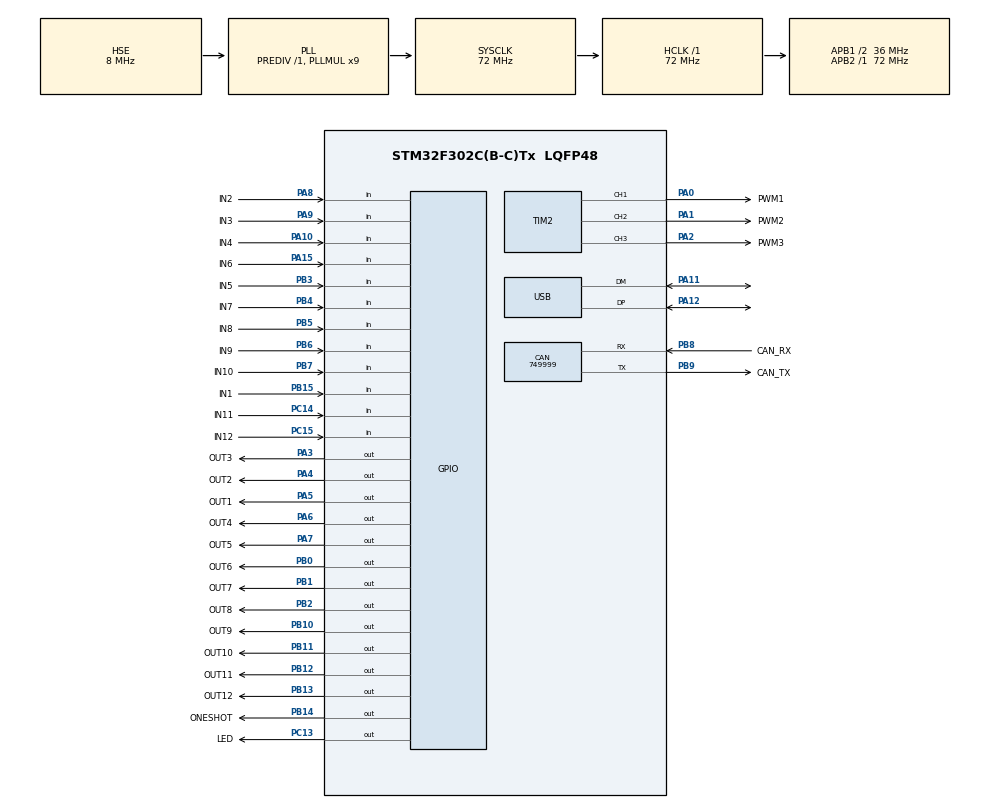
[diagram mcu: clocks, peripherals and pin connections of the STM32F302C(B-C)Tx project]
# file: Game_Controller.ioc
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CAN.CalculateBaudRate=749999
CAN.CalculateTimeBit=1333
CAN.CalculateTimeQuantum=444.44444444444446
Mcu.Family=STM32F3
Mcu.Name=STM32F302C(B-C)Tx
Mcu.Package=LQFP48
NVIC.PriorityGroup=NVIC_PRIORITYGROUP_4
NVIC.TIM4_IRQn=true\:0\:0\:false\:false\:true\:true\:true\:true
NVIC.USB_LP_IRQn=true\:0\:0\:false\:false\:true\:false\:true\:true
PA0.GPIO_Label=PWM1
PA0.Signal=S_TIM2_CH1_ETR
PA1.GPIO_Label=PWM2
PA1.Signal=S_TIM2_CH2
PA10.GPIO_Label=IN4
PA10.GPIO_PuPd=GPIO_PULLUP
PA10.Signal=GPIO_Input
PA11.Mode=Device
PA11.Signal=USB_DM
PA12.Mode=Device
PA12.Signal=USB_DP
PA13.Mode=Serial_Wire
PA13.Signal=SYS_JTMS-SWDIO
PA14.Mode=Serial_Wire
PA14.Signal=SYS_JTCK-SWCLK
PA15.GPIO_Label=IN6
PA15.GPIO_PuPd=GPIO_PULLUP
PA15.Signal=GPIO_Input
PA2.GPIO_Label=PWM3
PA2.Signal=S_TIM2_CH3
PA3.GPIO_Label=OUT3
PA3.GPIO_PuPd=GPIO_PULLDOWN
PA3.Signal=GPIO_Output
PA4.GPIO_Label=OUT2
PA4.GPIO_PuPd=GPIO_PULLDOWN
PA4.Signal=GPIO_Output
PA5.GPIO_Label=OUT1
PA5.GPIO_PuPd=GPIO_PULLDOWN
PA5.Signal=GPIO_Output
PA6.GPIO_Label=OUT4
PA6.GPIO_PuPd=GPIO_PULLDOWN
PA6.Signal=GPIO_Output
PA7.GPIO_Label=OUT5
PA7.GPIO_PuPd=GPIO_PULLDOWN
PA7.Signal=GPIO_Output
PA8.GPIO_Label=IN2
PA8.GPIO_PuPd=GPIO_PULLUP
PA8.Signal=GPIO_Input
PA9.GPIO_Label=IN3
PA9.GPIO_PuPd=GPIO_PULLUP
PA9.Signal=GPIO_Input
PB0.GPIO_Label=OUT6
PB0.GPIO_PuPd=GPIO_PULLDOWN
PB0.Signal=GPIO_Output
PB1.GPIO_Label=OUT7
PB1.GPIO_PuPd=GPIO_PULLDOWN
PB1.Signal=GPIO_Output
PB10.GPIO_Label=OUT9
PB10.GPIO_PuPd=GPIO_PULLDOWN
PB10.Signal=GPIO_Output
PB11.GPIO_Label=OUT10
PB11.GPIO_PuPd=GPIO_PULLDOWN
PB11.Signal=GPIO_Output
PB12.GPIO_Label=OUT11
PB12.GPIO_PuPd=GPIO_PULLDOWN
PB12.Signal=GPIO_Output
PB13.GPIO_Label=OUT12
PB13.GPIO_PuPd=GPIO_PULLDOWN
PB13.PinState=GPIO_PIN_SET
PB13.Signal=GPIO_Output
PB14.GPIO_Label=ONESHOT
PB14.GPIO_PuPd=GPIO_PULLUP
PB14.PinState=GPIO_PIN_SET
PB14.Signal=GPIO_Output
PB15.GPIO_Label=IN1
PB15.GPIO_PuPd=GPIO_PULLUP
PB15.Signal=GPIO_Input
PB2.GPIO_Label=OUT8
PB2.GPIO_PuPd=GPIO_PULLDOWN
PB2.Signal=GPIO_Output
PB3.GPIO_Label=IN5
PB3.GPIO_PuPd=GPIO_PULLUP
PB3.Signal=GPIO_Input
PB4.GPIO_Label=IN7
PB4.GPIO_PuPd=GPIO_PULLUP
PB4.Signal=GPIO_Input
PB5.GPIO_Label=IN8
PB5.GPIO_PuPd=GPIO_PULLUP
PB5.Signal=GPIO_Input
PB6.GPIO_Label=IN9
PB6.GPIO_PuPd=GPIO_PULLUP
PB6.Signal=GPIO_Input
PB7.GPIO_Label=IN10
PB7.GPIO_PuPd=GPIO_PULLUP
PB7.Signal=GPIO_Input
PB8.GPIO_Label=CAN_RX
PB8.GPIO_PuPd=GPIO_PULLUP
PB8.Mode=CAN_Activate
PB8.Signal=CAN_RX
PB9.GPIO_Label=CAN_TX
PB9.Mode=CAN_Activate
PB9.Signal=CAN_TX
PC13.GPIO_Label=LED
PC13.Signal=GPIO_Output
PC14-OSC32_IN.GPIO_Label=IN11
PC14-OSC32_IN.GPIO_PuPd=GPIO_PULLUP
PC14-OSC32_IN.Signal=GPIO_Input
PC15-OSC32_OUT.GPIO_Label=IN12
PC15-OSC32_OUT.GPIO_PuPd=GPIO_PULLUP
PC15-OSC32_OUT.Signal=GPIO_Input
PF0-OSC_IN.Mode=HSE-External-Oscillator
PF0-OSC_IN.Signal=RCC_OSC_IN
PF1-OSC_OUT.Mode=HSE-External-Oscillator
PF1-OSC_OUT.Signal=RCC_OSC_OUT
ProjectManager.HeapSize=0x200
ProjectManager.StackSize=0x400
ProjectManager.TargetToolchain=Makefile
RCC.AHBFreq_Value=72000000
RCC.APB1CLKDivider=RCC_HCLK_DIV2
RCC.APB1Freq_Value=36000000
RCC.APB1TimFreq_Value=72000000
RCC.APB2Freq_Value=72000000
RCC.APB2TimFreq_Value=72000000
RCC.CortexFreq_Value=72000000
RCC.HCLKFreq_Value=72000000
RCC.HSE_VALUE=8000000
RCC.HSI_VALUE=8000000
RCC.LSE_VALUE=32768
RCC.PLLMUL=RCC_PLL_MUL9
RCC.PRESCALERUSB=RCC_USBCLKSOURCE_PLL_DIV1_5
RCC.SYSCLKFreq_VALUE=72000000
RCC.SYSCLKSourceVirtual=RCC_SYSCLKSOURCE_PLLCLK
RCC.USBFreq_Value=48000000
SH.S_TIM2_CH1_ETR.0=TIM2_CH1,PWM Generation1 CH1
SH.S_TIM2_CH2.0=TIM2_CH2,PWM Generation2 CH2
SH.S_TIM2_CH3.0=TIM2_CH3,PWM Generation3 CH3
TIM1.AutoReloadPreload=TIM_AUTORELOAD_PRELOAD_ENABLE
TIM1.Period=65535
TIM1.Prescaler=1000
TIM2.Channel-PWM\ Generation1\ CH1=TIM_CHANNEL_1
TIM2.Channel-PWM\ Generation2\ CH2=TIM_CHANNEL_2
TIM2.Channel-PWM\ Generation3\ CH3=TIM_CHANNEL_3
TIM4.AutoReloadPreload=TIM_AUTORELOAD_PRELOAD_ENABLE
TIM4.Period=1000
TIM4.Prescaler=72-1
USB_DEVICE.CLASS_NAME_FS=HID
USB_DEVICE.VirtualMode=Hid
USB_DEVICE.VirtualModeFS=Hid_FS
VP_TIM1_VS_ClockSourceINT.Mode=Internal
VP_TIM2_VS_ClockSourceINT.Mode=Internal
VP_TIM4_VS_ClockSourceINT.Mode=Internal
VP_USB_DEVICE_VS_USB_DEVICE_HID_FS.Mode=HID_FS
VP_WWDG_VS_WWDG.Mode=WWDG_Activate
WWDG.Counter=127
WWDG.Prescaler=WWDG_PRESCALER_8
board=custom

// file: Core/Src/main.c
/* USER CODE BEGIN Header */
/**
  ******************************************************************************
  * @file           : main.c
  * @brief          : Main program body
  ******************************************************************************
  * @attention
  *
  * Copyright (c) 2025 STMicroelectronics.
  * All rights reserved.
  *
  * This software is licensed under terms that can be found in the LICENSE file
  * in the root directory of this software component.
  * If no LICENSE file comes with this software, it is provided AS-IS.
  *
  ******************************************************************************
  */
/* USER CODE END Header */
#include "main.h"

/* USER CODE BEGIN Includes */
#include "usb_device.h"
#include "usbd_hid.h"
/* USER CODE END Includes */

CAN_HandleTypeDef hcan;

TIM_HandleTypeDef htim1;
TIM_HandleTypeDef htim2;
TIM_HandleTypeDef htim4;

WWDG_HandleTypeDef hwwdg;

/* USER CODE BEGIN PV */
extern USBD_HandleTypeDef hUsbDeviceFS;

/* USER CODE END PV */

void SystemClock_Config(void);
static void MX_GPIO_Init(void);
static void MX_CAN_Init(void);
static void MX_TIM4_Init(void);
static void MX_TIM1_Init(void);
static void MX_TIM2_Init(void);

/* USER CODE BEGIN 0 */
void Reset_USB(void)
{
	// momentarily pull D+ to ground to fool the hub into thinking that the device is disconnected
	// a call to this should be manually placed after MX_GPIO_Init() and before MX_USB_DEVICE_Init()
	GPIO_InitTypeDef GPIO_InitStruct = {0};

	GPIO_InitStruct.Pin = GPIO_PIN_12;
	GPIO_InitStruct.Mode = GPIO_MODE_OUTPUT_PP;
	GPIO_InitStruct.Pull = GPIO_NOPULL;
	GPIO_InitStruct.Speed = GPIO_SPEED_FREQ_LOW;
	HAL_GPIO_Init(GPIOA, &GPIO_InitStruct);

	HAL_GPIO_WritePin(GPIOA, GPIO_PIN_12, RESET);
	HAL_Delay(500);
	HAL_GPIO_WritePin(GPIOA, GPIO_PIN_12, SET);
}

/* USER CODE END 0 */

int main(void)
{

  /* MCU Configuration--------------------------------------------------------*/

  /* Reset of all peripherals, Initializes the Flash interface and the Systick. */
  HAL_Init();

  /* Configure the system clock */
  SystemClock_Config();

  /* Initialize all configured peripherals */
  MX_GPIO_Init();
  MX_CAN_Init();
  MX_TIM4_Init();
  MX_TIM1_Init();
  MX_TIM2_Init();
  /* USER CODE BEGIN 2 */
  Reset_USB();
  MX_USB_DEVICE_Init();

  /* USER CODE END 2 */

  /* Infinite loop */
  while (1)
  {

    /* USER CODE BEGIN 3 */

    // dummy demo to move steering wheel left-right
    static uint16_t pos;
    uint8_t rep[2] = {(pos & 0x00FF), ((pos >> 8) & 0x00ff)};
    pos += 4;
    if(pos >= 1023)
    {
      pos = 0;
    }
    USBD_HID_SendReport(&hUsbDeviceFS, rep, 2);
    HAL_Delay(5);

  }
  /* USER CODE END 3 */
}

void SystemClock_Config(void)
{
  RCC_OscInitTypeDef RCC_OscInitStruct = {0};
  RCC_ClkInitTypeDef RCC_ClkInitStruct = {0};
  RCC_PeriphCLKInitTypeDef PeriphClkInit = {0};

  /** Initializes the RCC Oscillators according to the specified parameters
  * in the RCC_OscInitTypeDef structure.
  */
  RCC_OscInitStruct.OscillatorType = RCC_OSCILLATORTYPE_HSE;
  RCC_OscInitStruct.HSEState = RCC_HSE_ON;
  RCC_OscInitStruct.HSEPredivValue = RCC_HSE_PREDIV_DIV1;
  RCC_OscInitStruct.HSIState = RCC_HSI_ON;
  RCC_OscInitStruct.PLL.PLLState = RCC_PLL_ON;
  RCC_OscInitStruct.PLL.PLLSource = RCC_PLLSOURCE_HSE;
  RCC_OscInitStruct.PLL.PLLMUL = RCC_PLL_MUL9;
  if (HAL_RCC_OscConfig(&RCC_OscInitStruct) != HAL_OK)
  {
    Error_Handler();
  }

  /** Initializes the CPU, AHB and APB buses clocks
  */
  RCC_ClkInitStruct.ClockType = RCC_CLOCKTYPE_HCLK|RCC_CLOCKTYPE_SYSCLK
                              |RCC_CLOCKTYPE_PCLK1|RCC_CLOCKTYPE_PCLK2;
  RCC_ClkInitStruct.SYSCLKSource = RCC_SYSCLKSOURCE_PLLCLK;
  RCC_ClkInitStruct.AHBCLKDivider = RCC_SYSCLK_DIV1;
  RCC_ClkInitStruct.APB1CLKDivider = RCC_HCLK_DIV2;
  RCC_ClkInitStruct.APB2CLKDivider = RCC_HCLK_DIV1;

  if (HAL_RCC_ClockConfig(&RCC_ClkInitStruct, FLASH_LATENCY_2) != HAL_OK)
  {
    Error_Handler();
  }
  PeriphClkInit.PeriphClockSelection = RCC_PERIPHCLK_USB|RCC_PERIPHCLK_TIM1;
  PeriphClkInit.USBClockSelection = RCC_USBCLKSOURCE_PLL_DIV1_5;
  PeriphClkInit.Tim1ClockSelection = RCC_TIM1CLK_HCLK;
  if (HAL_RCCEx_PeriphCLKConfig(&PeriphClkInit) != HAL_OK)
  {
    Error_Handler();
  }
}

static void MX_CAN_Init(void)
{

  hcan.Instance = CAN;
  hcan.Init.Prescaler = 16;
  hcan.Init.Mode = CAN_MODE_NORMAL;
  hcan.Init.SyncJumpWidth = CAN_SJW_1TQ;
  hcan.Init.TimeSeg1 = CAN_BS1_1TQ;
  hcan.Init.TimeSeg2 = CAN_BS2_1TQ;
  hcan.Init.TimeTriggeredMode = DISABLE;
  hcan.Init.AutoBusOff = DISABLE;
  hcan.Init.AutoWakeUp = DISABLE;
  hcan.Init.AutoRetransmission = DISABLE;
  hcan.Init.ReceiveFifoLocked = DISABLE;
  hcan.Init.TransmitFifoPriority = DISABLE;
  if (HAL_CAN_Init(&hcan) != HAL_OK)
  {
    Error_Handler();
  }

}

static void MX_TIM1_Init(void)
{

  TIM_ClockConfigTypeDef sClockSourceConfig = {0};
  TIM_MasterConfigTypeDef sMasterConfig = {0};

  htim1.Instance = TIM1;
  htim1.Init.Prescaler = 1000;
  htim1.Init.CounterMode = TIM_COUNTERMODE_UP;
  htim1.Init.Period = 65535;
  htim1.Init.ClockDivision = TIM_CLOCKDIVISION_DIV1;
  htim1.Init.RepetitionCounter = 0;
  htim1.Init.AutoReloadPreload = TIM_AUTORELOAD_PRELOAD_ENABLE;
  if (HAL_TIM_Base_Init(&htim1) != HAL_OK)
  {
    Error_Handler();
  }
  sClockSourceConfig.ClockSource = TIM_CLOCKSOURCE_INTERNAL;
  if (HAL_TIM_ConfigClockSource(&htim1, &sClockSourceConfig) != HAL_OK)
  {
    Error_Handler();
  }
  sMasterConfig.MasterOutputTrigger = TIM_TRGO_RESET;
  sMasterConfig.MasterOutputTrigger2 = TIM_TRGO2_RESET;
  sMasterConfig.MasterSlaveMode = TIM_MASTERSLAVEMODE_DISABLE;
  if (HAL_TIMEx_MasterConfigSynchronization(&htim1, &sMasterConfig) != HAL_OK)
  {
    Error_Handler();
  }

}

static void MX_TIM2_Init(void)
{

  TIM_ClockConfigTypeDef sClockSourceConfig = {0};
  TIM_MasterConfigTypeDef sMasterConfig = {0};
  TIM_OC_InitTypeDef sConfigOC = {0};

  htim2.Instance = TIM2;
  htim2.Init.Prescaler = 0;
  htim2.Init.CounterMode = TIM_COUNTERMODE_UP;
  htim2.Init.Period = 4294967295;
  htim2.Init.ClockDivision = TIM_CLOCKDIVISION_DIV1;
  htim2.Init.AutoReloadPreload = TIM_AUTORELOAD_PRELOAD_DISABLE;
  if (HAL_TIM_Base_Init(&htim2) != HAL_OK)
  {
    Error_Handler();
  }
  sClockSourceConfig.ClockSource = TIM_CLOCKSOURCE_INTERNAL;
  if (HAL_TIM_ConfigClockSource(&htim2, &sClockSourceConfig) != HAL_OK)
  {
    Error_Handler();
  }
  if (HAL_TIM_PWM_Init(&htim2) != HAL_OK)
  {
    Error_Handler();
  }
  sMasterConfig.MasterOutputTrigger = TIM_TRGO_RESET;
  sMasterConfig.MasterSlaveMode = TIM_MASTERSLAVEMODE_DISABLE;
  if (HAL_TIMEx_MasterConfigSynchronization(&htim2, &sMasterConfig) != HAL_OK)
  {
    Error_Handler();
  }
  sConfigOC.OCMode = TIM_OCMODE_PWM1;
  sConfigOC.Pulse = 0;
  sConfigOC.OCPolarity = TIM_OCPOLARITY_HIGH;
  sConfigOC.OCFastMode = TIM_OCFAST_DISABLE;
  if (HAL_TIM_PWM_ConfigChannel(&htim2, &sConfigOC, TIM_CHANNEL_1) != HAL_OK)
  {
    Error_Handler();
  }
  if (HAL_TIM_PWM_ConfigChannel(&htim2, &sConfigOC, TIM_CHANNEL_2) != HAL_OK)
  {
    Error_Handler();
  }
  if (HAL_TIM_PWM_ConfigChannel(&htim2, &sConfigOC, TIM_CHANNEL_3) != HAL_OK)
  {
    Error_Handler();
  }
  HAL_TIM_MspPostInit(&htim2);

}

static void MX_TIM4_Init(void)
{

  TIM_ClockConfigTypeDef sClockSourceConfig = {0};
  TIM_MasterConfigTypeDef sMasterConfig = {0};

  htim4.Instance = TIM4;
  htim4.Init.Prescaler = 72-1;
  htim4.Init.CounterMode = TIM_COUNTERMODE_UP;
  htim4.Init.Period = 1000;
  htim4.Init.ClockDivision = TIM_CLOCKDIVISION_DIV1;
  htim4.Init.AutoReloadPreload = TIM_AUTORELOAD_PRELOAD_ENABLE;
  if (HAL_TIM_Base_Init(&htim4) != HAL_OK)
  {
    Error_Handler();
  }
  sClockSourceConfig.ClockSource = TIM_CLOCKSOURCE_INTERNAL;
  if (HAL_TIM_ConfigClockSource(&htim4, &sClockSourceConfig) != HAL_OK)
  {
    Error_Handler();
  }
  sMasterConfig.MasterOutputTrigger = TIM_TRGO_RESET;
  sMasterConfig.MasterSlaveMode = TIM_MASTERSLAVEMODE_DISABLE;
  if (HAL_TIMEx_MasterConfigSynchronization(&htim4, &sMasterConfig) != HAL_OK)
  {
    Error_Handler();
  }

}

void MX_WWDG_Init(void)
{

  hwwdg.Instance = WWDG;
  hwwdg.Init.Prescaler = WWDG_PRESCALER_8;
  hwwdg.Init.Window = 64;
  hwwdg.Init.Counter = 127;
  hwwdg.Init.EWIMode = WWDG_EWI_DISABLE;
  if (HAL_WWDG_Init(&hwwdg) != HAL_OK)
  {
    Error_Handler();
  }

}

static void MX_GPIO_Init(void)
{
  GPIO_InitTypeDef GPIO_InitStruct = {0};

  /* GPIO Ports Clock Enable */
  __HAL_RCC_GPIOC_CLK_ENABLE();
  __HAL_RCC_GPIOF_CLK_ENABLE();
  __HAL_RCC_GPIOA_CLK_ENABLE();
  __HAL_RCC_GPIOB_CLK_ENABLE();

  /*Configure GPIO pin Output Level */
  HAL_GPIO_WritePin(LED_GPIO_Port, LED_Pin, GPIO_PIN_RESET);

  /*Configure GPIO pin Output Level */
  HAL_GPIO_WritePin(GPIOA, OUT3_Pin|OUT2_Pin|OUT1_Pin|OUT4_Pin
                          |OUT5_Pin, GPIO_PIN_RESET);

  /*Configure GPIO pin Output Level */
  HAL_GPIO_WritePin(GPIOB, OUT6_Pin|OUT7_Pin|OUT8_Pin|OUT9_Pin
                          |OUT10_Pin|OUT11_Pin, GPIO_PIN_RESET);

  /*Configure GPIO pin Output Level */
  HAL_GPIO_WritePin(GPIOB, OUT12_Pin|ONESHOT_Pin, GPIO_PIN_SET);

  /*Configure GPIO pin : LED_Pin */
  GPIO_InitStruct.Pin = LED_Pin;
  GPIO_InitStruct.Mode = GPIO_MODE_OUTPUT_PP;
  GPIO_InitStruct.Pull = GPIO_NOPULL;
  GPIO_InitStruct.Speed = GPIO_SPEED_FREQ_LOW;
  HAL_GPIO_Init(LED_GPIO_Port, &GPIO_InitStruct);

  /*Configure GPIO pins : IN11_Pin IN12_Pin */
  GPIO_InitStruct.Pin = IN11_Pin|IN12_Pin;
  GPIO_InitStruct.Mode = GPIO_MODE_INPUT;
  GPIO_InitStruct.Pull = GPIO_PULLUP;
  HAL_GPIO_Init(GPIOC, &GPIO_InitStruct);

  /*Configure GPIO pins : OUT3_Pin OUT2_Pin OUT1_Pin OUT4_Pin
                           OUT5_Pin */
  GPIO_InitStruct.Pin = OUT3_Pin|OUT2_Pin|OUT1_Pin|OUT4_Pin
                          |OUT5_Pin;
  GPIO_InitStruct.Mode = GPIO_MODE_OUTPUT_PP;
  GPIO_InitStruct.Pull = GPIO_PULLDOWN;
  GPIO_InitStruct.Speed = GPIO_SPEED_FREQ_LOW;
  HAL_GPIO_Init(GPIOA, &GPIO_InitStruct);

  /*Configure GPIO pins : OUT6_Pin OUT7_Pin OUT8_Pin OUT9_Pin
                           OUT10_Pin OUT11_Pin OUT12_Pin */
  GPIO_InitStruct.Pin = OUT6_Pin|OUT7_Pin|OUT8_Pin|OUT9_Pin
                          |OUT10_Pin|OUT11_Pin|OUT12_Pin;
  GPIO_InitStruct.Mode = GPIO_MODE_OUTPUT_PP;
  GPIO_InitStruct.Pull = GPIO_PULLDOWN;
  GPIO_InitStruct.Speed = GPIO_SPEED_FREQ_LOW;
  HAL_GPIO_Init(GPIOB, &GPIO_InitStruct);

  /*Configure GPIO pin : ONESHOT_Pin */
  GPIO_InitStruct.Pin = ONESHOT_Pin;
  GPIO_InitStruct.Mode = GPIO_MODE_OUTPUT_PP;
  GPIO_InitStruct.Pull = GPIO_PULLUP;
  GPIO_InitStruct.Speed = GPIO_SPEED_FREQ_LOW;
  HAL_GPIO_Init(ONESHOT_GPIO_Port, &GPIO_InitStruct);

  /*Configure GPIO pins : IN1_Pin IN5_Pin IN7_Pin IN8_Pin
                           IN9_Pin IN10_Pin */
  GPIO_InitStruct.Pin = IN1_Pin|IN5_Pin|IN7_Pin|IN8_Pin
                          |IN9_Pin|IN10_Pin;
  GPIO_InitStruct.Mode = GPIO_MODE_INPUT;
  GPIO_InitStruct.Pull = GPIO_PULLUP;
  HAL_GPIO_Init(GPIOB, &GPIO_InitStruct);

  /*Configure GPIO pins : IN2_Pin IN3_Pin IN4_Pin IN6_Pin */
  GPIO_InitStruct.Pin = IN2_Pin|IN3_Pin|IN4_Pin|IN6_Pin;
  GPIO_InitStruct.Mode = GPIO_MODE_INPUT;
  GPIO_InitStruct.Pull = GPIO_PULLUP;
  HAL_GPIO_Init(GPIOA, &GPIO_InitStruct);

}

void Error_Handler(void)
{
  __disable_irq();
  while (1)
  {
  }
}
